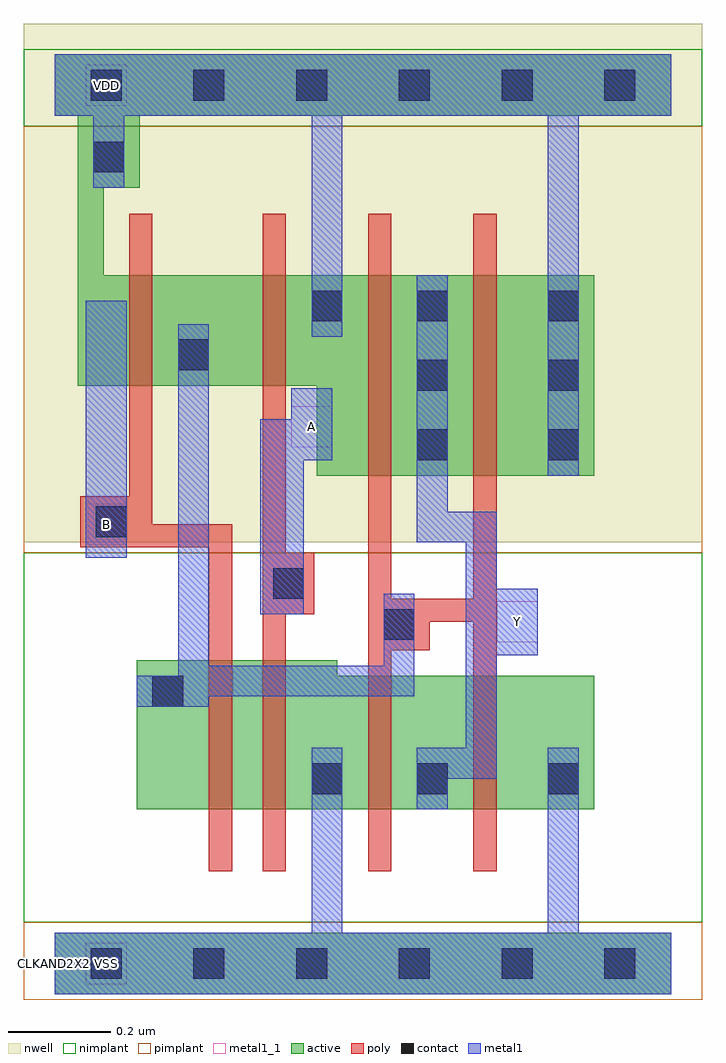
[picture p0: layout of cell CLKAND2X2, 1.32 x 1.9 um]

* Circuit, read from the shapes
.subckt CLKAND2X2 A B VDD VSS Y
M1 n1 B n2 VSS nfet w=0.29u l=0.045u
M2 VSS A n1 VSS nfet w=0.29u l=0.045u
M3 Y n2 VSS VSS nfet w=0.26u l=0.045u m=2
M4 n2 B VDD VDD pfet w=0.215u l=0.045u
M5 VDD A n2 VDD pfet w=0.215u l=0.045u
M6 Y n2 VDD VDD pfet w=0.39u l=0.045u m=2
.ends

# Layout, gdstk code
import gdstk
lib = gdstk.Library(unit=1e-6, precision=5e-10)
def R(c, l, rs):  # rectangles x0, y0, x1, y1
    for r in rs: c.add(gdstk.rectangle(r[:2], r[2:], *l))
def A(c, l, x, y, w, h, nx, ny, dx, dy):  # array of equal rectangles
    R(c, l, [(x+i*dx, y+j*dy, x+i*dx+w, y+j*dy+h) for i in range(nx) for j in range(ny)])
def P(c, l, *ps):  # polygons
    for p in ps: c.add(gdstk.Polygon(p, *l))
active = (1, 0)
nwell = (2, 0)
poly = (3, 0)
nimplant = (4, 0)
pimplant = (5, 0)
contact = (6, 0)
metal1 = (7, 0)
metal1_1 = (7, 1)

clkand2x2 = lib.new_cell('CLKAND2X2')
R(clkand2x2, active, [(0,-0.06,1.2,0.06)])
P(clkand2x2, active, [(0,1.77),(1.2,1.77),(1.2,1.65),(0.165,1.65),(0.165,1.51),(0.095,1.51),(0.095,1.34),(1.05,1.34),(1.05,0.95),(0.51,0.95),(0.51,1.125),(0.045,1.125),(0.045,1.65),(0,1.65)],
  [(0.16,0.59),(0.55,0.59),(0.55,0.56),(1.05,0.56),(1.05,0.3),(0.16,0.3)])
R(clkand2x2, nwell, [(-0.06,0.82,1.26,1.83)])
P(clkand2x2, poly, [(0.145,1.46),(0.19,1.46),(0.19,0.855),(0.345,0.855),(0.345,0.18),(0.3,0.18),(0.3,0.81),(0.05,0.81),(0.05,0.91),(0.145,0.91)],
  [(0.405,1.46),(0.45,1.46),(0.45,0.8),(0.505,0.8),(0.505,0.68),(0.45,0.68),(0.45,0.18),(0.405,0.18)],
  [(0.61,1.46),(0.655,1.46),(0.655,0.71),(0.815,0.71),(0.815,1.46),(0.86,1.46),(0.86,0.18),(0.815,0.18),(0.815,0.665),(0.73,0.665),(0.73,0.61),(0.655,0.61),(0.655,0.18),(0.61,0.18)])
R(clkand2x2, nimplant, [(-0.06,0.08,1.26,0.8), (-0.06,1.63,1.26,1.78)])
R(clkand2x2, pimplant, [(-0.06,-0.07,1.26,0.08), (-0.06,0.8,1.26,1.63)])
A(clkand2x2, contact, 0.07, -0.03, 0.06, 0.06, 6, 2, 0.2, 1.71)
A(clkand2x2, contact, 0.705, 0.98, 0.06, 0.06, 1, 3, 0, 0.135)
A(clkand2x2, contact, 0.96, 0.98, 0.06, 0.06, 1, 3, 0, 0.135)
R(clkand2x2, contact, [(0.5,0.33,0.56,0.39), (0.705,0.33,0.765,0.39), (0.96,0.33,1.02,0.39), (0.19,0.5,0.25,0.56), (0.64,0.63,0.7,0.69), (0.425,0.71,0.485,0.77), (0.08,0.83,0.14,0.89), (0.24,1.155,0.3,1.215), (0.5,1.25,0.56,1.31), (0.075,1.54,0.135,1.6)])
R(clkand2x2, metal1, [(0.06,0.79,0.14,1.29)])
P(clkand2x2, metal1, [(0,1.77),(1.2,1.77),(1.2,1.65),(1.02,1.65),(1.02,0.95),(0.96,0.95),(0.96,1.65),(0.56,1.65),(0.56,1.22),(0.5,1.22),(0.5,1.65),(0.135,1.65),(0.135,1.51),(0.075,1.51),(0.075,1.65),(0,1.65)],
  [(0.24,1.245),(0.3,1.245),(0.3,0.58),(0.64,0.58),(0.64,0.72),(0.7,0.72),(0.7,0.52),(0.3,0.52),(0.3,0.5),(0.16,0.5),(0.16,0.56),(0.24,0.56)],
  [(0.705,1.34),(0.765,1.34),(0.765,0.88),(0.86,0.88),(0.86,0.73),(0.94,0.73),(0.94,0.6),(0.86,0.6),(0.86,0.36),(0.765,0.36),(0.765,0.3),(0.705,0.3),(0.705,0.42),(0.8,0.42),(0.8,0.82),(0.705,0.82)],
  [(0.46,1.12),(0.54,1.12),(0.54,0.98),(0.485,0.98),(0.485,0.68),(0.4,0.68),(0.4,1.06),(0.46,1.06)],
  [(0.5,0.42),(0.56,0.42),(0.56,0.06),(0.96,0.06),(0.96,0.42),(1.02,0.42),(1.02,0.06),(1.2,0.06),(1.2,-0.06),(0,-0.06),(0,0.06),(0.5,0.06)])
A(clkand2x2, metal1_1, 0.06, -0.04, 0.08, 0.08, 1, 3, 0, 0.855)
R(clkand2x2, metal1_1, [(0.86,0.625,0.94,0.705), (0.46,1.005,0.54,1.085)])
clkand2x2.add(gdstk.Label('Y', (0.9,0.665), layer=7, texttype=1))
clkand2x2.add(gdstk.Label('A', (0.5,1.045), layer=7, texttype=1))
clkand2x2.add(gdstk.Label('B', (0.1,0.855), layer=7, texttype=1))
clkand2x2.add(gdstk.Label('VDD', (0.1,1.71), layer=7, texttype=1))
clkand2x2.add(gdstk.Label('VSS', (0.1,0), layer=7, texttype=1))
clkand2x2.add(gdstk.Label('CLKAND2X2', (0,0), layer=63, texttype=0))

lib.write_gds('CLKAND2X2.gds')
